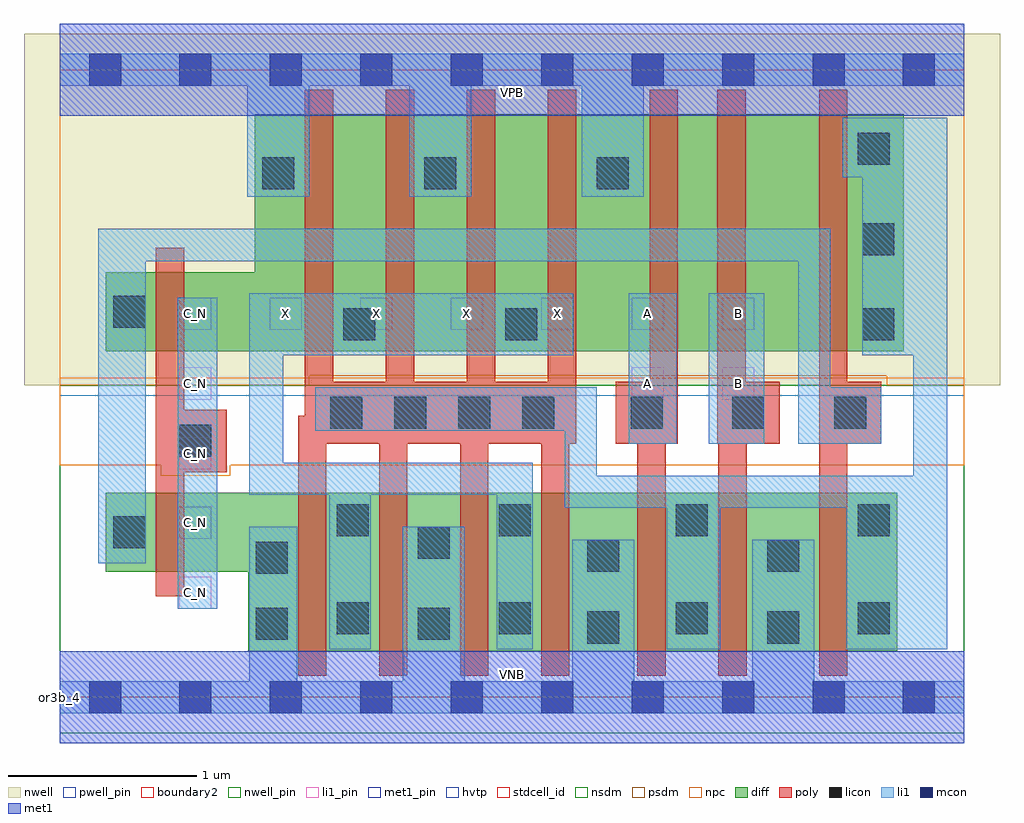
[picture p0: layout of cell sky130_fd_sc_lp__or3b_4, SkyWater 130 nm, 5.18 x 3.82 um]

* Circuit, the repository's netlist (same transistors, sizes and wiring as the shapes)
* Copyright 2020 The SkyWater PDK Authors
*
* Licensed under the Apache License, Version 2.0 (the "License");
* you may not use this file except in compliance with the License.
* You may obtain a copy of the License at
*
*     https://www.apache.org/licenses/LICENSE-2.0
*
* Unless required by applicable law or agreed to in writing, software
* distributed under the License is distributed on an "AS IS" BASIS,
* WITHOUT WARRANTIES OR CONDITIONS OF ANY KIND, either express or implied.
* See the License for the specific language governing permissions and
* limitations under the License.
*
* SPDX-License-Identifier: Apache-2.0

.SUBCKT sky130_fd_sc_lp__or3b_4 A B C_N VGND VNB VPB VPWR X
*.PININFO A:I B:I C_N:I VGND:I VNB:I VPB:I VPWR:I X:O
MMP0 VPWR A sndPA VPB sky130_fd_pr__pfet_01v8_hvt m=1 w=1.26U l=0.15U mult=1 sa=0.265
+ sb=0.265 sd=0.28 area=0.063 perim=1.14
MMP1 sndPA B sndPB VPB sky130_fd_pr__pfet_01v8_hvt m=1 w=1.26U l=0.15U mult=1 sa=0.265
+ sb=0.265 sd=0.28 area=0.063 perim=1.14
MMP2 sndPB C y VPB sky130_fd_pr__pfet_01v8_hvt m=1 w=1.26U l=0.15U mult=1 sa=0.265
+ sb=0.265 sd=0.28 area=0.063 perim=1.14
MMIP2 C C_N VPWR VPB sky130_fd_pr__pfet_01v8_hvt m=1 w=0.42U l=0.15U mult=1 sa=0.265
+ sb=0.265 sd=0.28 area=0.063 perim=1.14
MMIP3 X y VPWR VPB sky130_fd_pr__pfet_01v8_hvt m=4 w=1.26U l=0.15U mult=1 sa=0.265
+ sb=0.265 sd=0.28 area=0.063 perim=1.14
MMN0 y A VGND VNB sky130_fd_pr__nfet_01v8 m=1 w=0.84U l=0.15U mult=1 sa=0.265 sb=0.265
+ sd=0.28 area=0.063 perim=1.14
MMN1 y B VGND VNB sky130_fd_pr__nfet_01v8 m=1 w=0.84U l=0.15U mult=1 sa=0.265 sb=0.265
+ sd=0.28 area=0.063 perim=1.14
MMN2 y C VGND VNB sky130_fd_pr__nfet_01v8 m=1 w=0.84U l=0.15U mult=1 sa=0.265 sb=0.265
+ sd=0.28 area=0.063 perim=1.14
MMIN2 C C_N VGND VNB sky130_fd_pr__nfet_01v8 m=1 w=0.42U l=0.15U mult=1 sa=0.265
+ sb=0.265 sd=0.28 area=0.063 perim=1.14
MMIN3 X y VGND VNB sky130_fd_pr__nfet_01v8 m=4 w=0.84U l=0.15U mult=1 sa=0.265
+ sb=0.265 sd=0.28 area=0.063 perim=1.14
.ENDS sky130_fd_sc_lp__or3b_4

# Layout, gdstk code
import gdstk
lib = gdstk.Library(unit=1e-6, precision=1e-09)
def R(c, l, rs):  # rectangles x0, y0, x1, y1
    for r in rs: c.add(gdstk.rectangle(r[:2], r[2:], *l))
def A(c, l, x, y, w, h, nx, ny, dx, dy):  # array of equal rectangles
    R(c, l, [(x+i*dx, y+j*dy, x+i*dx+w, y+j*dy+h) for i in range(nx) for j in range(ny)])
def P(c, l, *ps):  # polygons
    for p in ps: c.add(gdstk.Polygon(p, *l))
nwell_pin = (64, 16)
nwell = (64, 20)
diff = (65, 20)
poly = (66, 20)
licon = (66, 44)
li1_pin = (67, 16)
li1 = (67, 20)
mcon = (67, 44)
met1_pin = (68, 16)
met1 = (68, 20)
hvtp = (78, 44)
stdcell_id = (81, 4)
nsdm = (93, 44)
psdm = (94, 20)
npc = (95, 20)
pwell_pin = (122, 16)
boundary2 = (236, 0)

sky130_fd_sc_lp__or3b_4 = lib.new_cell('sky130_fd_sc_lp__or3b_4')
R(sky130_fd_sc_lp__or3b_4, nwell_pin, [(0,3.085,4.8,3.33)])
R(sky130_fd_sc_lp__or3b_4, nwell, [(-0.19,1.655,4.99,3.52)])
P(sky130_fd_sc_lp__or3b_4, diff, [(4.445,1.085),(0.245,1.085),(0.245,0.665),(1,0.665),(1,0.245),(4.445,0.245)],
  [(4.48,3.095),(1.035,3.095),(1.035,2.255),(0.245,2.255),(0.245,1.835),(4.48,1.835)])
P(sky130_fd_sc_lp__or3b_4, poly, [(0.885,1.525),(0.66,1.525),(0.66,2.385),(0.51,2.385),(0.51,0.535),(0.66,0.535),(0.66,1.195),(0.885,1.195)],
  [(2.74,3.225),(2.59,3.225),(2.59,1.675),(2.31,1.675),(2.31,3.225),(2.16,3.225),(2.16,1.675),(1.88,1.675),(1.88,3.225),(1.73,3.225),(1.73,1.675),(1.45,1.675),(1.45,3.225),(1.3,3.225),(1.3,1.495),(1.265,1.495),(1.265,0.115),(1.415,0.115),(1.415,1.345),(1.695,1.345),(1.695,0.115),(1.845,0.115),(1.845,1.345),(2.125,1.345),(2.125,0.115),(2.275,0.115),(2.275,1.345),(2.555,1.345),(2.555,0.115),(2.705,0.115),(2.705,1.345),(2.74,1.345)],
  [(3.28,3.225),(3.13,3.225),(3.13,1.675),(2.95,1.675),(2.95,1.345),(3.065,1.345),(3.065,0.115),(3.215,0.115),(3.215,1.345),(3.28,1.345)],
  [(3.82,1.675),(3.64,1.675),(3.64,3.225),(3.49,3.225),(3.49,1.345),(3.495,1.345),(3.495,0.115),(3.645,0.115),(3.645,1.345),(3.82,1.345)],
  [(4.36,1.675),(4.18,1.675),(4.18,3.225),(4.03,3.225),(4.03,0.115),(4.18,0.115),(4.18,1.345),(4.36,1.345)])
A(sky130_fd_sc_lp__or3b_4, licon, 1.435, 1.425, 0.17, 0.17, 4, 1, 0.34, 0)
A(sky130_fd_sc_lp__or3b_4, licon, 3.03, 1.425, 0.17, 0.17, 3, 1, 0.54, 0)
R(sky130_fd_sc_lp__or3b_4, licon, [(2.8,0.285,2.97,0.455), (3.755,0.285,3.925,0.455), (1.04,0.305,1.21,0.475), (1.9,0.305,2.07,0.475), (1.47,0.335,1.64,0.505), (2.33,0.335,2.5,0.505), (3.27,0.335,3.44,0.505), (4.235,0.335,4.405,0.505), (1.04,0.655,1.21,0.825), (2.8,0.665,2.97,0.835), (3.755,0.665,3.925,0.835), (1.9,0.735,2.07,0.905), (0.285,0.79,0.455,0.96), (1.47,0.855,1.64,1.025), (2.33,0.855,2.5,1.025), (3.27,0.855,3.44,1.025), (4.235,0.855,4.405,1.025), (0.635,1.275,0.805,1.445), (1.505,1.895,1.675,2.065), (2.365,1.895,2.535,2.065), (4.26,1.895,4.43,2.065), (0.285,1.96,0.455,2.13), (4.26,2.345,4.43,2.515), (1.075,2.695,1.245,2.865), (1.935,2.695,2.105,2.865), (2.85,2.695,3.02,2.865), (4.235,2.825,4.405,2.995)])
A(sky130_fd_sc_lp__or3b_4, li1_pin, 0.635, 0.47, 0.17, 0.17, 1, 4, 0, 0.37)
A(sky130_fd_sc_lp__or3b_4, li1_pin, 0.635, 1.95, 0.17, 0.17, 7, 1, 0.48, 0)
R(sky130_fd_sc_lp__or3b_4, li1_pin, [(3.035,1.58,3.205,1.75), (3.515,1.58,3.685,1.75)])
R(sky130_fd_sc_lp__or3b_4, li1, [(0.625,0.47,0.835,2.12), (3.02,1.345,3.275,2.145), (3.445,1.345,3.74,2.145)])
P(sky130_fd_sc_lp__or3b_4, li1, [(0.995,2.655),(0.995,3.245),(0,3.245),(0,3.415),(4.8,3.415),(4.8,3.245),(3.1,3.245),(3.1,2.655),(2.77,2.655),(2.77,3.245),(2.185,3.245),(2.185,2.655),(1.855,2.655),(1.855,3.245),(1.325,3.245),(1.325,2.655)],
  [(2.72,0.085),(2.72,0.835),(3.05,0.835),(3.05,0.085),(3.675,0.085),(3.675,0.835),(4.005,0.835),(4.005,0.085),(4.8,0.085),(4.8,-0.085),(0,-0.085),(0,0.085),(1.005,0.085),(1.005,0.905),(1.26,0.905),(1.26,0.085),(1.82,0.085),(1.82,0.905),(2.15,0.905),(2.15,0.085)],
  [(1.005,2.145),(2.725,2.145),(2.725,1.815),(1.185,1.815),(1.185,1.245),(2.51,1.245),(2.51,0.255),(2.32,0.255),(2.32,1.075),(1.65,1.075),(1.65,0.255),(1.43,0.255),(1.43,1.075),(1.005,1.075)],
  [(0.205,2.485),(4.09,2.485),(4.09,1.645),(4.36,1.645),(4.36,1.345),(3.92,1.345),(3.92,2.315),(0.455,2.315),(0.455,0.71),(0.205,0.71)],
  [(4.71,3.075),(4.155,3.075),(4.155,2.76),(4.26,2.76),(4.26,1.815),(4.53,1.815),(4.53,1.175),(2.85,1.175),(2.85,1.645),(1.355,1.645),(1.355,1.415),(2.68,1.415),(2.68,1.005),(3.22,1.005),(3.22,0.255),(3.505,0.255),(3.505,1.005),(4.175,1.005),(4.175,0.255),(4.71,0.255)])
A(sky130_fd_sc_lp__or3b_4, mcon, 0.155, -0.085, 0.17, 0.17, 10, 2, 0.48, 3.33)
R(sky130_fd_sc_lp__or3b_4, met1_pin, [(0,0,4.8,0.245), (0,3.085,4.8,3.33)])
R(sky130_fd_sc_lp__or3b_4, met1, [(0,-0.245,4.8,0.245), (0,3.085,4.8,3.575)])
R(sky130_fd_sc_lp__or3b_4, hvtp, [(0,1.6,4.8,3.33)])
R(sky130_fd_sc_lp__or3b_4, stdcell_id, [(0,0,4.8,3.33)])
R(sky130_fd_sc_lp__or3b_4, nsdm, [(0,-0.19,4.8,1.655)])
P(sky130_fd_sc_lp__or3b_4, psdm, [(4.8,3.52),(0,3.52),(0,1.655),(1.325,1.655),(1.325,1.705),(4.39,1.705),(4.39,1.655),(4.8,1.655)])
P(sky130_fd_sc_lp__or3b_4, npc, [(4.8,1.695),(0,1.695),(0,1.23),(0.535,1.23),(0.535,1.175),(0.905,1.175),(0.905,1.23),(4.8,1.23)])
R(sky130_fd_sc_lp__or3b_4, pwell_pin, [(0,0,4.8,0.245)])
R(sky130_fd_sc_lp__or3b_4, boundary2, [(0,0,4.8,3.33)])
sky130_fd_sc_lp__or3b_4.add(gdstk.Label('VNB', (2.4,0.123), layer=64, texttype=59))
sky130_fd_sc_lp__or3b_4.add(gdstk.Label('VPB', (2.4,3.208), layer=64, texttype=5))
sky130_fd_sc_lp__or3b_4.add(gdstk.Label('or3b_4', (0,0), layer=83, texttype=44))
sky130_fd_sc_lp__or3b_4.add(gdstk.Label('VPWR', (2.4,3.208), layer=68, texttype=5))
sky130_fd_sc_lp__or3b_4.add(gdstk.Label('VGND', (2.4,0.123), layer=68, texttype=5))
sky130_fd_sc_lp__or3b_4.add(gdstk.Label('A', (3.12,1.665), layer=67, texttype=5))
sky130_fd_sc_lp__or3b_4.add(gdstk.Label('A', (3.12,2.035), layer=67, texttype=5))
sky130_fd_sc_lp__or3b_4.add(gdstk.Label('B', (3.6,1.665), layer=67, texttype=5))
sky130_fd_sc_lp__or3b_4.add(gdstk.Label('B', (3.6,2.035), layer=67, texttype=5))
sky130_fd_sc_lp__or3b_4.add(gdstk.Label('C_N', (0.72,0.555), layer=67, texttype=5))
sky130_fd_sc_lp__or3b_4.add(gdstk.Label('C_N', (0.72,0.925), layer=67, texttype=5))
sky130_fd_sc_lp__or3b_4.add(gdstk.Label('C_N', (0.72,1.295), layer=67, texttype=5))
sky130_fd_sc_lp__or3b_4.add(gdstk.Label('C_N', (0.72,1.665), layer=67, texttype=5))
sky130_fd_sc_lp__or3b_4.add(gdstk.Label('C_N', (0.72,2.035), layer=67, texttype=5))
sky130_fd_sc_lp__or3b_4.add(gdstk.Label('X', (1.2,2.035), layer=67, texttype=5))
sky130_fd_sc_lp__or3b_4.add(gdstk.Label('X', (1.68,2.035), layer=67, texttype=5))
sky130_fd_sc_lp__or3b_4.add(gdstk.Label('X', (2.16,2.035), layer=67, texttype=5))
sky130_fd_sc_lp__or3b_4.add(gdstk.Label('X', (2.64,2.035), layer=67, texttype=5))

lib.write_gds('sky130_fd_sc_lp__or3b_4.gds')
